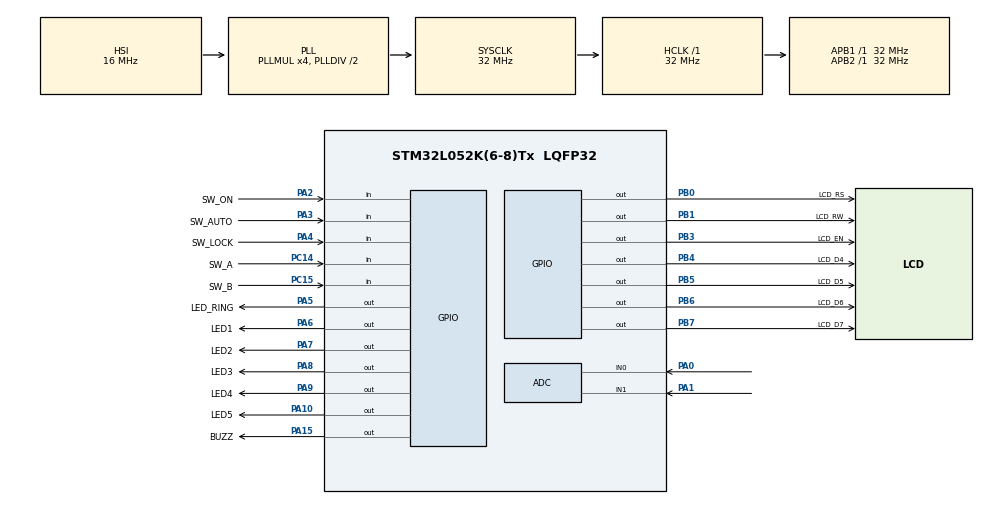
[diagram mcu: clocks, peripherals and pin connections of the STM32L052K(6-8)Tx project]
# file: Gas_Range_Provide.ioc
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ADC.SamplingTime=ADC_SAMPLETIME_160CYCLES_5
Mcu.Family=STM32L0
Mcu.Name=STM32L052K(6-8)Tx
Mcu.Package=LQFP32
NVIC.TIM6_DAC_IRQn=true\:0\:0\:false\:true\:true\:1\:true\:true\:true
PA0.Mode=IN0
PA0.Signal=ADC_IN0
PA1.Mode=IN1
PA1.Signal=ADC_IN1
PA10.GPIO_Label=LED5
PA10.GPIO_Speed=GPIO_SPEED_FREQ_VERY_HIGH
PA10.PinState=GPIO_PIN_SET
PA10.Signal=GPIO_Output
PA13.Mode=Serial_Wire
PA13.Signal=SYS_SWDIO
PA14.Mode=Serial_Wire
PA14.Signal=SYS_SWCLK
PA15.GPIO_Label=BUZZ
PA15.GPIO_Speed=GPIO_SPEED_FREQ_VERY_HIGH
PA15.Signal=GPIO_Output
PA2.GPIO_Label=SW_ON
PA2.GPIO_PuPd=GPIO_PULLUP
PA2.Signal=GPIO_Input
PA3.GPIO_Label=SW_AUTO
PA3.GPIO_PuPd=GPIO_PULLUP
PA3.Signal=GPIO_Input
PA4.GPIO_Label=SW_LOCK
PA4.GPIO_PuPd=GPIO_PULLUP
PA4.Signal=GPIO_Input
PA5.GPIO_Label=LED_RING
PA5.GPIO_ModeDefaultOutputPP=GPIO_MODE_OUTPUT_OD
PA5.GPIO_Speed=GPIO_SPEED_FREQ_VERY_HIGH
PA5.Signal=GPIO_Output
PA6.GPIO_Label=LED1
PA6.GPIO_Speed=GPIO_SPEED_FREQ_VERY_HIGH
PA6.PinState=GPIO_PIN_SET
PA6.Signal=GPIO_Output
PA7.GPIO_Label=LED2
PA7.GPIO_Speed=GPIO_SPEED_FREQ_VERY_HIGH
PA7.PinState=GPIO_PIN_SET
PA7.Signal=GPIO_Output
PA8.GPIO_Label=LED3
PA8.GPIO_Speed=GPIO_SPEED_FREQ_VERY_HIGH
PA8.PinState=GPIO_PIN_SET
PA8.Signal=GPIO_Output
PA9.GPIO_Label=LED4
PA9.GPIO_Speed=GPIO_SPEED_FREQ_VERY_HIGH
PA9.PinState=GPIO_PIN_SET
PA9.Signal=GPIO_Output
PB0.GPIO_Label=LCD_RS
PB0.GPIO_Speed=GPIO_SPEED_FREQ_VERY_HIGH
PB0.Signal=GPIO_Output
PB1.GPIO_Label=LCD_RW
PB1.GPIO_Speed=GPIO_SPEED_FREQ_VERY_HIGH
PB1.Signal=GPIO_Output
PB3.GPIO_Label=LCD_EN
PB3.GPIO_Speed=GPIO_SPEED_FREQ_VERY_HIGH
PB3.Signal=GPIO_Output
PB4.GPIO_Label=LCD_D4
PB4.GPIO_Speed=GPIO_SPEED_FREQ_VERY_HIGH
PB4.Signal=GPIO_Output
PB5.GPIO_Label=LCD_D5
PB5.GPIO_Speed=GPIO_SPEED_FREQ_VERY_HIGH
PB5.Signal=GPIO_Output
PB6.GPIO_Label=LCD_D6
PB6.GPIO_Speed=GPIO_SPEED_FREQ_VERY_HIGH
PB6.Signal=GPIO_Output
PB7.GPIO_Label=LCD_D7
PB7.GPIO_Speed=GPIO_SPEED_FREQ_VERY_HIGH
PB7.Signal=GPIO_Output
PC14-OSC32_IN.GPIO_Label=SW_A
PC14-OSC32_IN.GPIO_PuPd=GPIO_PULLUP
PC14-OSC32_IN.Signal=GPIO_Input
PC15-OSC32_OUT.GPIO_Label=SW_B
PC15-OSC32_OUT.GPIO_PuPd=GPIO_PULLUP
PC15-OSC32_OUT.Signal=GPIO_Input
ProjectManager.HeapSize=0x200
ProjectManager.StackSize=0x400
ProjectManager.TargetToolchain=STM32CubeIDE
RCC.AHBFreq_Value=32000000
RCC.APB1Freq_Value=32000000
RCC.APB1TimFreq_Value=32000000
RCC.APB2Freq_Value=32000000
RCC.APB2TimFreq_Value=32000000
RCC.HCLKFreq_Value=32000000
RCC.HSI16_VALUE=16000000
RCC.HSI48_VALUE=48000000
RCC.HSI_VALUE=16000000
RCC.LSE_VALUE=32768
RCC.MSI_VALUE=2097000
RCC.PLLMUL=RCC_PLLMUL_4
RCC.SYSCLKFreq_VALUE=32000000
RCC.SYSCLKSource=RCC_SYSCLKSOURCE_PLLCLK
RCC.VCOOutputFreq_Value=64000000
TIM6.AutoReloadPreload=TIM_AUTORELOAD_PRELOAD_ENABLE
TIM6.Period=9999
TIM6.Prescaler=31
VP_TIM6_VS_ClockSourceINT.Mode=Enable_Timer
board=custom

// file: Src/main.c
/* USER CODE BEGIN Header */
/**
 ******************************************************************************
 * @file           : main.c
 * @brief          : Main program body
 ******************************************************************************
 * @attention
 *
 * <h2><center>&copy; Copyright (c) 2020 STMicroelectronics.
 * All rights reserved.</center></h2>
 *
 * This software component is licensed by ST under BSD 3-Clause license,
 * the "License"; You may not use this file except in compliance with the
 * License. You may obtain a copy of the License at:
 *                        opensource.org/licenses/BSD-3-Clause
 *
 ******************************************************************************
 */
/* USER CODE END Header */
#include "main.h"

/* USER CODE BEGIN Includes */
#include <stdio.h>
#include <stdlib.h>
#include "lcd1602.h"
#include "control_hardware.h"
/* USER CODE END Includes */

/* USER CODE BEGIN PTD */
typedef char *String;
typedef enum {
	OVER, SAFE, OFF, ONN, AUTO, ON
} gstat;
typedef uint8_t boolean;
typedef enum {
	false, true
} _BOOL;
typedef struct {
	boolean over, safe, off, onn, au, on;
} Statflag;
/* USER CODE END PTD */

/* USER CODE BEGIN PD */
#define SW1 HAL_GPIO_ReadPin(SW_ON_GPIO_Port, SW_ON_Pin)
#define SW2 HAL_GPIO_ReadPin(SW_AUTO_GPIO_Port, SW_LOCK_Pin)
#define SW3 HAL_GPIO_ReadPin(SW_AUTO_GPIO_Port, SW_AUTO_Pin)
#define SW4 HAL_GPIO_ReadPin(SW_A_GPIO_Port, SW_A_Pin)
#define SW5 HAL_GPIO_ReadPin(SW_B_GPIO_Port, SW_B_Pin)
#define BUZZER(X) HAL_GPIO_WritePin(BUZZ_GPIO_Port, BUZZ_Pin, X)
#define LED(N, X) HAL_GPIO_WritePin(LED##N##_GPIO_Port, LED##N##_Pin, !X)
#define NOW(X) (HAL_GetTick() - X)
#define TEMPUP(X) (X == 1 ? 900 : X == 2 ? 800 : X == 3 ? 700 : X == 4 ? 600 : X == 5 ? 500 : X == 6 ? 400 : X == 7 ? 300 : X == 8 ? 200 : X == 9 ? 100 : 0)
#define TEMPDOWN(X) (X < 10 ? 2900 : X >= 300 ? 100 : X >= 200 ? 200 : X >= 100 ? 400 : X >= 40 ? 700 : X >= 20 ? 1100 : X >= 15 ? 1600 : X >= 10 ? 2200 : 0)
#define LEDCLEAR LED(1, false); LED(2, false); LED(3, false); LED(4, false); LED(5, false);
/* USER CODE END PD */

ADC_HandleTypeDef hadc;
TIM_HandleTypeDef htim6;
/* USER CODE BEGIN PV */
int temp = 20, fire = 0, fireset = 0, altemp = 20, autemp = 80;
boolean ledRingFlag = false;
Statflag stat;
String statfont[6] = { "OVER HEAT", "SAFE LOCK", "OFF      ", "ON(NONE) ",
		"AUTO ADJ ", "ON       " };
gstat gasstat = OFF;
uint32_t led_ring_data[10][12] = {
		{ 0, 0, 0, 0, 0, 0, 0, 0, 0, 0 },
		{ 13, 0, 0,0, 13, 0, 0, 0, 13, 0, 0, 0 },
		{ 76, 0, 0, 0, 76, 0, 0, 0, 76, 0, 0, 0 },
		{ 255, 0, 0, 0, 255, 0, 0, 0,255, 0, 0, 0 },
		{ 255, 0, 13, 0, 255, 0, 13, 0, 255, 0, 13, 0 },
		{ 255, 0, 76, 0, 255, 0, 76, 0, 255, 0, 76, 0 },
		{ 255, 0, 255, 0, 255,0, 255, 0, 255, 0, 255, 0 },
		{ 255, 13, 255, 13, 255, 13, 255,13, 255, 13, 255, 13 },
		{ 255, 76, 255, 76, 255, 76, 255, 76,255, 76, 255, 76 },
		{ 255, 255, 255, 255, 255, 255, 255, 255,255, 255, 255, 255 }
};
/* USER CODE END PV */

void SystemClock_Config(void);
static void MX_GPIO_Init(void);
static void MX_ADC_Init(void);
static void MX_TIM6_Init(void);
static void MX_NVIC_Init(void);

/* USER CODE BEGIN 0 */
void read_adc(uint16_t *cds, uint16_t *vr) {
	HAL_ADC_Start(&hadc);
	HAL_ADC_PollForConversion(&hadc, 1000);
	*cds = HAL_ADC_GetValue(&hadc);
	HAL_ADC_PollForConversion(&hadc, 1000);
	*vr = HAL_ADC_GetValue(&hadc);
	HAL_ADC_Stop(&hadc);
}

void lcd_print() {
	String bf = (char *)malloc(sizeof(char) * 17);
	gasstat = (stat.over ? OVER : stat.safe ? SAFE : stat.off ? OFF : stat.onn ? ONN : stat.au ? AUTO : stat.on ? ON : 0);
	sprintf(bf, "TEMP:%03d%cC  %c:%d ", temp, 0xDF, 1, fireset);
	lcd_gotoxy(0, 1);
	lcd_puts(bf);
	sprintf(bf, "[%.9s][%03d]", statfont[gasstat], altemp);
	lcd_gotoxy(0, 0);
	lcd_puts(bf);
	free(bf);
}

void led(uint16_t vr) {
	vr = ((uint8_t) ((float) vr / 1023.75) + 1);
	LED(1, (vr == 1));
	LED(2, (vr == 2));
	LED(3, (vr == 3));
	LED(4, (vr == 4));
	LED(5, (vr == 5));
	autemp = (vr == 2 ? 100 : vr == 3 ? 140 : vr == 4 ? 180 : vr == 5 ? 220 : 80);
}

typedef struct _IO{
	void (*Lcd_Print)();
	void (*Led)(uint16_t);
	void (*Read_ADC)(uint16_t*, uint16_t*);

}IOcon;

void HAL_TIM_PeriodElapsedCallback(TIM_HandleTypeDef *htim) {
	if (htim->Instance == htim6.Instance && ledRingFlag) {
		ledRingFlag = false;
		led_ring_update(led_ring_data[fire]);
	}
}

void setUp(IOcon *io){
	io->Lcd_Print = lcd_print;
	io->Led = led;
	io->Read_ADC = read_adc;
}

/* USER CODE END 0 */

int main(void) {
	/* USER CODE BEGIN 1 */
	IOcon io;
	boolean swFlag = false, buzflag = false, alflag = false;
	uint16_t cds, vr;
	uint32_t last = NOW(0);
	uint32_t flast = NOW(0);
	uint32_t tuplast = NOW(0);
	uint32_t tdownlast = NOW(0);
	uint32_t buzlast = NOW(0);
	/* USER CODE END 1 */

	/* MCU Configuration--------------------------------------------------------*/

	/* Reset of all peripherals, Initializes the Flash interface and the Systick. */
	HAL_Init();

	/* Configure the system clock */
	SystemClock_Config();

	/* Initialize all configured peripherals */
	MX_GPIO_Init();
	MX_ADC_Init();
	MX_TIM6_Init();

	/* Initialize interrupts */
	MX_NVIC_Init();
	setUp(&io);
	/* USER CODE BEGIN 2 */
	LcdInit();
	lcd_cgram(1, 0);
	lcd_puts("\fSmart Gas Range\n             001");
	HAL_Delay(2000);
	HAL_TIM_Base_Start_IT(&htim6);
	ledRingFlag = true;
	io.Lcd_Print();

	/* USER CODE END 2 */

	/* Infinite loop */
	while (1) {

		/* USER CODE BEGIN 3 */
		io.Read_ADC(&cds, &vr);
		if (!SW2)
			stat.safe = true;
		else {
			if (!SW1) {
				if (cds > 3000) {
					stat.on = true;
					stat.onn = false;
				} else {
					stat.onn = true;
					stat.on = false;
				}
				stat.off = false;
			} else {
				if (temp < 150) {
					stat.over = false;
					buzflag = false;
				}
				stat.safe = false;
				stat.onn = false;
				stat.on = false;
				stat.off = true;
			}
		}
		if (stat.off || stat.over || stat.safe) {
			fireset = 0;
			LEDCLEAR
		} else if (stat.onn) {
			LEDCLEAR
			fireset = 1;
		} else if (stat.au && !stat.onn && cds > 3000) {
			io.Led(vr);
			if (1 < autemp - temp)
				fireset = 9;
			if (autemp - temp < -1)
				fireset = 1;
		} else if (stat.on) {
			LEDCLEAR
			fireset = vr / 511.875 + 1;
		}
		if (!SW3 || !SW4 || !SW5) {
			if (!swFlag) {
				if (!SW3)
					stat.au = (!stat.au ? true : false);
				if (!SW4)
					altemp -= 20;
				if (!SW5)
					altemp += 20;
				if (altemp > 280)
					altemp = 280;
				if (altemp < 20)
					altemp = 20;
			}
			swFlag = true;
		} else {
			swFlag = false;
		}
		if (NOW(last) >= 10) {
			if (NOW(flast) >= 100) {
				if (fire < fireset) {
					fire++;
					io.Lcd_Print();
					ledRingFlag = true;
				}
				if (fire > fireset) {
					fire--;
					io.Lcd_Print();
					ledRingFlag = true;
				}
				flast = NOW(0);
			}
			last = NOW(0);
		}
		if (NOW(tuplast) >= TEMPUP(fire) && TEMPUP(fire) != 0) {
			temp++;
			tuplast = NOW(0);
			if (temp > 300)
				stat.over = true;
			io.Lcd_Print();
		}
		if (NOW(tdownlast) >= TEMPDOWN(temp - 20)
				&& TEMPDOWN(temp - 20) != 0) {
			temp--;
			if (temp < 20)
				temp = 20;
			tdownlast = NOW(0);
			io.Lcd_Print();
		}
		if (!buzflag && stat.over) {
			buzlast = NOW(0);
			buzflag = true;
		}
		if (altemp < temp && altemp > 20) {
			if (!alflag) {
				buzlast = NOW(0);
				alflag = true;
			}
		} else {
			BUZZER(false);
			alflag = false;
		}
		if (buzflag) {
			if ((NOW(buzlast) >= 100 && NOW(buzlast) <= 200)
					|| (NOW(buzlast) >= 300 && NOW(buzlast) <= 400)
					|| (NOW(buzlast) >= 500 && NOW(buzlast) <= 600))
				BUZZER(true);
			else
				BUZZER(false);
		} else if (alflag) {
			if ((NOW(buzlast) >= 0 && NOW(buzlast) <= 100)
					|| (NOW(buzlast) >= 200 && NOW(buzlast) <= 300))
				BUZZER(true);
			else
				BUZZER(false);
			if (NOW(buzlast) >= 1000)
				buzlast = NOW(0);
		}
		io.Lcd_Print();
	}
	/* USER CODE END 3 */
}

void SystemClock_Config(void) {
	RCC_OscInitTypeDef RCC_OscInitStruct = { 0 };
	RCC_ClkInitTypeDef RCC_ClkInitStruct = { 0 };

	/** Configure the main internal regulator output voltage
	 */
	__HAL_PWR_VOLTAGESCALING_CONFIG(PWR_REGULATOR_VOLTAGE_SCALE1);

	/** Initializes the RCC Oscillators according to the specified parameters
	 * in the RCC_OscInitTypeDef structure.
	 */
	RCC_OscInitStruct.OscillatorType = RCC_OSCILLATORTYPE_HSI;
	RCC_OscInitStruct.HSIState = RCC_HSI_ON;
	RCC_OscInitStruct.HSICalibrationValue = RCC_HSICALIBRATION_DEFAULT;
	RCC_OscInitStruct.PLL.PLLState = RCC_PLL_ON;
	RCC_OscInitStruct.PLL.PLLSource = RCC_PLLSOURCE_HSI;
	RCC_OscInitStruct.PLL.PLLMUL = RCC_PLLMUL_4;
	RCC_OscInitStruct.PLL.PLLDIV = RCC_PLLDIV_2;
	if (HAL_RCC_OscConfig(&RCC_OscInitStruct) != HAL_OK) {
		Error_Handler();
	}

	/** Initializes the CPU, AHB and APB buses clocks
	 */
	RCC_ClkInitStruct.ClockType = RCC_CLOCKTYPE_HCLK | RCC_CLOCKTYPE_SYSCLK
			| RCC_CLOCKTYPE_PCLK1 | RCC_CLOCKTYPE_PCLK2;
	RCC_ClkInitStruct.SYSCLKSource = RCC_SYSCLKSOURCE_PLLCLK;
	RCC_ClkInitStruct.AHBCLKDivider = RCC_SYSCLK_DIV1;
	RCC_ClkInitStruct.APB1CLKDivider = RCC_HCLK_DIV1;
	RCC_ClkInitStruct.APB2CLKDivider = RCC_HCLK_DIV1;

	if (HAL_RCC_ClockConfig(&RCC_ClkInitStruct, FLASH_LATENCY_1) != HAL_OK) {
		Error_Handler();
	}
}

/**
 * @brief NVIC Configuration.
 * @retval None
 */
static void MX_NVIC_Init(void) {
	/* TIM6_DAC_IRQn interrupt configuration */
	HAL_NVIC_SetPriority(TIM6_DAC_IRQn, 0, 0);
	HAL_NVIC_EnableIRQ(TIM6_DAC_IRQn);
}

static void MX_ADC_Init(void) {

	ADC_ChannelConfTypeDef sConfig = { 0 };

	/** Configure the global features of the ADC (Clock, Resolution, Data Alignment and number of conversion)
	 */
	hadc.Instance = ADC1;
	hadc.Init.OversamplingMode = DISABLE;
	hadc.Init.ClockPrescaler = ADC_CLOCK_SYNC_PCLK_DIV2;
	hadc.Init.Resolution = ADC_RESOLUTION_12B;
	hadc.Init.SamplingTime = ADC_SAMPLETIME_160CYCLES_5;
	hadc.Init.ScanConvMode = ADC_SCAN_DIRECTION_FORWARD;
	hadc.Init.DataAlign = ADC_DATAALIGN_RIGHT;
	hadc.Init.ContinuousConvMode = DISABLE;
	hadc.Init.DiscontinuousConvMode = DISABLE;
	hadc.Init.ExternalTrigConvEdge = ADC_EXTERNALTRIGCONVEDGE_NONE;
	hadc.Init.ExternalTrigConv = ADC_SOFTWARE_START;
	hadc.Init.DMAContinuousRequests = DISABLE;
	hadc.Init.EOCSelection = ADC_EOC_SINGLE_CONV;
	hadc.Init.Overrun = ADC_OVR_DATA_PRESERVED;
	hadc.Init.LowPowerAutoWait = DISABLE;
	hadc.Init.LowPowerFrequencyMode = DISABLE;
	hadc.Init.LowPowerAutoPowerOff = DISABLE;
	if (HAL_ADC_Init(&hadc) != HAL_OK) {
		Error_Handler();
	}

	/** Configure for the selected ADC regular channel to be converted.
	 */
	sConfig.Channel = ADC_CHANNEL_0;
	sConfig.Rank = ADC_RANK_CHANNEL_NUMBER;
	if (HAL_ADC_ConfigChannel(&hadc, &sConfig) != HAL_OK) {
		Error_Handler();
	}

	/** Configure for the selected ADC regular channel to be converted.
	 */
	sConfig.Channel = ADC_CHANNEL_1;
	if (HAL_ADC_ConfigChannel(&hadc, &sConfig) != HAL_OK) {
		Error_Handler();
	}

}

static void MX_TIM6_Init(void) {

	TIM_MasterConfigTypeDef sMasterConfig = { 0 };

	htim6.Instance = TIM6;
	htim6.Init.Prescaler = 31;
	htim6.Init.CounterMode = TIM_COUNTERMODE_UP;
	htim6.Init.Period = 9999;
	htim6.Init.AutoReloadPreload = TIM_AUTORELOAD_PRELOAD_ENABLE;
	if (HAL_TIM_Base_Init(&htim6) != HAL_OK) {
		Error_Handler();
	}
	sMasterConfig.MasterOutputTrigger = TIM_TRGO_RESET;
	sMasterConfig.MasterSlaveMode = TIM_MASTERSLAVEMODE_DISABLE;
	if (HAL_TIMEx_MasterConfigSynchronization(&htim6, &sMasterConfig)
			!= HAL_OK) {
		Error_Handler();
	}

}

static void MX_GPIO_Init(void) {
	GPIO_InitTypeDef GPIO_InitStruct = { 0 };

	/* GPIO Ports Clock Enable */
	__HAL_RCC_GPIOC_CLK_ENABLE();
	__HAL_RCC_GPIOA_CLK_ENABLE();
	__HAL_RCC_GPIOB_CLK_ENABLE();

	/*Configure GPIO pin Output Level */
	HAL_GPIO_WritePin(GPIOA, LED_RING_Pin | BUZZ_Pin, GPIO_PIN_RESET);

	/*Configure GPIO pin Output Level */
	HAL_GPIO_WritePin(GPIOA,
			LED1_Pin | LED2_Pin | LED3_Pin | LED4_Pin | LED5_Pin, GPIO_PIN_SET);

	/*Configure GPIO pin Output Level */
	HAL_GPIO_WritePin(GPIOB,
			LCD_RS_Pin | LCD_RW_Pin | LCD_EN_Pin | LCD_D4_Pin | LCD_D5_Pin
					| LCD_D6_Pin | LCD_D7_Pin, GPIO_PIN_RESET);

	/*Configure GPIO pins : SW_A_Pin SW_B_Pin */
	GPIO_InitStruct.Pin = SW_A_Pin | SW_B_Pin;
	GPIO_InitStruct.Mode = GPIO_MODE_INPUT;
	GPIO_InitStruct.Pull = GPIO_PULLUP;
	HAL_GPIO_Init(GPIOC, &GPIO_InitStruct);

	/*Configure GPIO pins : SW_ON_Pin SW_AUTO_Pin SW_LOCK_Pin */
	GPIO_InitStruct.Pin = SW_ON_Pin | SW_AUTO_Pin | SW_LOCK_Pin;
	GPIO_InitStruct.Mode = GPIO_MODE_INPUT;
	GPIO_InitStruct.Pull = GPIO_PULLUP;
	HAL_GPIO_Init(GPIOA, &GPIO_InitStruct);

	/*Configure GPIO pin : LED_RING_Pin */
	GPIO_InitStruct.Pin = LED_RING_Pin;
	GPIO_InitStruct.Mode = GPIO_MODE_OUTPUT_OD;
	GPIO_InitStruct.Pull = GPIO_NOPULL;
	GPIO_InitStruct.Speed = GPIO_SPEED_FREQ_VERY_HIGH;
	HAL_GPIO_Init(LED_RING_GPIO_Port, &GPIO_InitStruct);

	/*Configure GPIO pins : LED1_Pin LED2_Pin LED3_Pin LED4_Pin
	 LED5_Pin BUZZ_Pin */
	GPIO_InitStruct.Pin = LED1_Pin | LED2_Pin | LED3_Pin | LED4_Pin | LED5_Pin
			| BUZZ_Pin;
	GPIO_InitStruct.Mode = GPIO_MODE_OUTPUT_PP;
	GPIO_InitStruct.Pull = GPIO_NOPULL;
	GPIO_InitStruct.Speed = GPIO_SPEED_FREQ_VERY_HIGH;
	HAL_GPIO_Init(GPIOA, &GPIO_InitStruct);

	/*Configure GPIO pins : LCD_RS_Pin LCD_RW_Pin LCD_EN_Pin LCD_D4_Pin
	 LCD_D5_Pin LCD_D6_Pin LCD_D7_Pin */
	GPIO_InitStruct.Pin = LCD_RS_Pin | LCD_RW_Pin | LCD_EN_Pin | LCD_D4_Pin
			| LCD_D5_Pin | LCD_D6_Pin | LCD_D7_Pin;
	GPIO_InitStruct.Mode = GPIO_MODE_OUTPUT_PP;
	GPIO_InitStruct.Pull = GPIO_NOPULL;
	GPIO_InitStruct.Speed = GPIO_SPEED_FREQ_VERY_HIGH;
	HAL_GPIO_Init(GPIOB, &GPIO_InitStruct);

}

void Error_Handler(void) {
}
